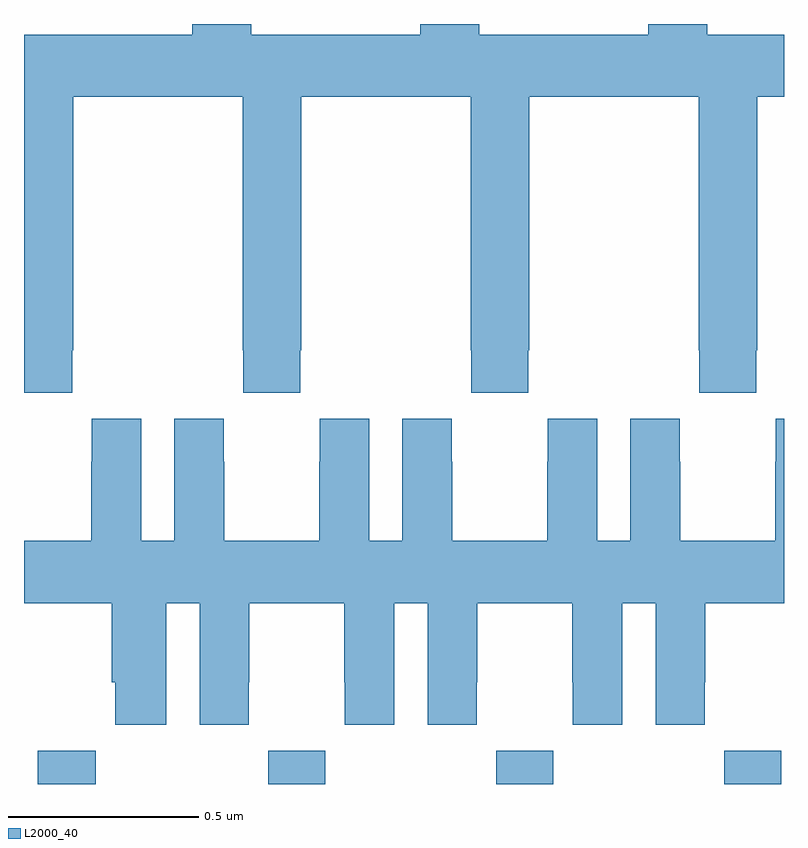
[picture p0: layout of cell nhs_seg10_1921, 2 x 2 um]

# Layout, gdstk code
import gdstk
lib = gdstk.Library(unit=1e-6, precision=1e-09)
def R(c, l, rs):  # rectangles x0, y0, x1, y1
    for r in rs: c.add(gdstk.rectangle(r[:2], r[2:], *l))
def A(c, l, x, y, w, h, nx, ny, dx, dy):  # array of equal rectangles
    R(c, l, [(x+i*dx, y+j*dy, x+i*dx+w, y+j*dy+h) for i in range(nx) for j in range(ny)])
def P(c, l, *ps):  # polygons
    for p in ps: c.add(gdstk.Polygon(p, *l))
L2000_40 = (2000, 40)

nhs_seg10_1921 = lib.new_cell('nhs_seg10_1921')
A(nhs_seg10_1921, L2000_40, 134.643, 1306.5, 0.15, 0.088, 3, 1, 0.6, 0)
R(nhs_seg10_1921, L2000_40, [(134.036,1306.5,134.189,1306.588)])
P(nhs_seg10_1921, L2000_40, [(135.043,1308.472),(134.598,1308.472),(134.598,1308.5),(134.443,1308.5),(134.443,1308.472),(134,1308.472),(134,1307.529),(134.127,1307.529),(134.127,1307.641),(134.13,1307.641),(134.13,1308.308),(134.575,1308.308),(134.575,1307.641),(134.577,1307.641),(134.577,1307.529),(134.727,1307.529),(134.727,1307.641),(134.73,1307.641),(134.73,1308.308),(135.175,1308.308),(135.175,1307.641),(135.177,1307.641),(135.177,1307.529),(135.327,1307.529),(135.327,1307.641),(135.33,1307.641),(135.33,1308.308),(135.775,1308.308),(135.775,1307.641),(135.777,1307.641),(135.777,1307.529),(135.927,1307.529),(135.927,1307.641),(135.93,1307.641),(135.93,1308.308),(136,1308.308),(136,1308.472),(135.798,1308.472),(135.798,1308.5),(135.643,1308.5),(135.643,1308.472),(135.198,1308.472),(135.198,1308.5),(135.043,1308.5)],
  [(134.843,1306.768),(134.844,1306.768),(134.844,1306.656),(134.974,1306.656),(134.974,1306.976),(135.062,1306.976),(135.062,1306.656),(135.192,1306.656),(135.192,1306.768),(135.193,1306.768),(135.193,1306.976),(135.443,1306.976),(135.443,1306.768),(135.444,1306.768),(135.444,1306.656),(135.574,1306.656),(135.574,1306.976),(135.662,1306.976),(135.662,1306.656),(135.792,1306.656),(135.792,1306.768),(135.793,1306.768),(135.793,1306.976),(136,1306.976),(136,1307.461),(135.978,1307.461),(135.978,1307.348),(135.977,1307.348),(135.977,1307.14),(135.727,1307.14),(135.727,1307.348),(135.726,1307.348),(135.726,1307.461),(135.596,1307.461),(135.596,1307.14),(135.508,1307.14),(135.508,1307.461),(135.378,1307.461),(135.378,1307.348),(135.377,1307.348),(135.377,1307.14),(135.127,1307.14),(135.127,1307.348),(135.126,1307.348),(135.126,1307.461),(134.996,1307.461),(134.996,1307.14),(134.908,1307.14),(134.908,1307.461),(134.778,1307.461),(134.778,1307.348),(134.777,1307.348),(134.777,1307.14),(134.527,1307.14),(134.527,1307.348),(134.526,1307.348),(134.526,1307.461),(134.396,1307.461),(134.396,1307.14),(134.308,1307.14),(134.308,1307.461),(134.178,1307.461),(134.178,1307.348),(134.177,1307.348),(134.177,1307.14),(134,1307.14),(134,1306.976),(134.231,1306.976),(134.231,1306.768),(134.24,1306.768),(134.24,1306.656),(134.374,1306.656),(134.374,1306.976),(134.462,1306.976),(134.462,1306.656),(134.592,1306.656),(134.592,1306.768),(134.593,1306.768),(134.593,1306.976),(134.843,1306.976)])

lib.write_gds('nhs_seg10_1921.gds')
